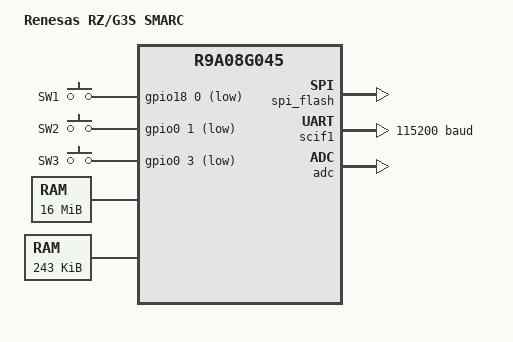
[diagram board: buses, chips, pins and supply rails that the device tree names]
/*
 * Copyright (c) 2024 EPAM Systems
 * Copyright (c) 2024 Renesas Electronics Corporation
 * SPDX-License-Identifier: Apache-2.0
 */

/dts-v1/;

#include <freq.h>
#include <zephyr/dt-bindings/memory-attr/memory-attr-arm.h>
#include <zephyr/dt-bindings/input/input-event-codes.h>
#include <zephyr/dt-bindings/gpio/renesas-rz-gpio.h>
#include <arm/renesas/rz/rzg/r9a08g045.dtsi>
#include "rzg3s_smarc-pinctrl.dtsi"

/ {
	model = "Renesas RZ/G3S SMARC";
	compatible = "renesas,rzg3s-smarc";

	chosen {
		zephyr,sram = &sram_mcpu0;
		zephyr,flash = &spi_flash;
		zephyr,console = &scif1;
		zephyr,shell-uart = &scif1;
	};

	aliases {
		sw0 = &sw_1;
		sw1 = &sw_2;
		sw2 = &sw_3;
	};

	buttons {
		compatible = "gpio-keys";

		sw_1: button_1 {
			gpios = <&gpio18 0 GPIO_ACTIVE_LOW>;
			label = "SW1";
			zephyr,code = <INPUT_KEY_1>;
		};

		sw_2: button_2 {
			gpios = <&gpio0 1 GPIO_ACTIVE_LOW>;
			label = "SW2";
			zephyr,code = <INPUT_KEY_2>;
		};

		sw_3: button_3 {
			gpios = <&gpio0 3 GPIO_ACTIVE_LOW>;
			label = "SW3";
			zephyr,code = <INPUT_KEY_3>;
		};
	};

	ddr: memory@60000000 {
		compatible ="zephyr,memory-region", "mmio-sram";
		reg = <0x60000000 DT_SIZE_M(16)>;
		zephyr,memory-region = "DDR";
		zephyr,memory-attr = <( DT_MEM_ARM(ATTR_MPU_RAM) )>;
	};

	sram_mcpu0: memory@23000 {
		compatible = "mmio-sram";
		reg = <0x23000 DT_SIZE_K(243)>;
	};

	/*
	 * This node is defined to enable west flash support.
	 * The base addr and size depends on ATF-F configuration, which is running on Cortex-A55 and
	 * loading Zephyr app from xSPI flash.
	 */
	spi_flash: memory@80200000 {
		compatible = "mmio-sram";
		reg = <0x80200000 DT_SIZE_K(256)>;
	};

};

&scif1 {
	current-speed = <115200>;
	pinctrl-0 = <&scif1_pins>;
	pinctrl-names = "default";
	status = "okay";
};

&gpio0{
	status = "okay";
};

&gpio18{
	status = "okay";
};

&adc {
	status = "okay";
};
